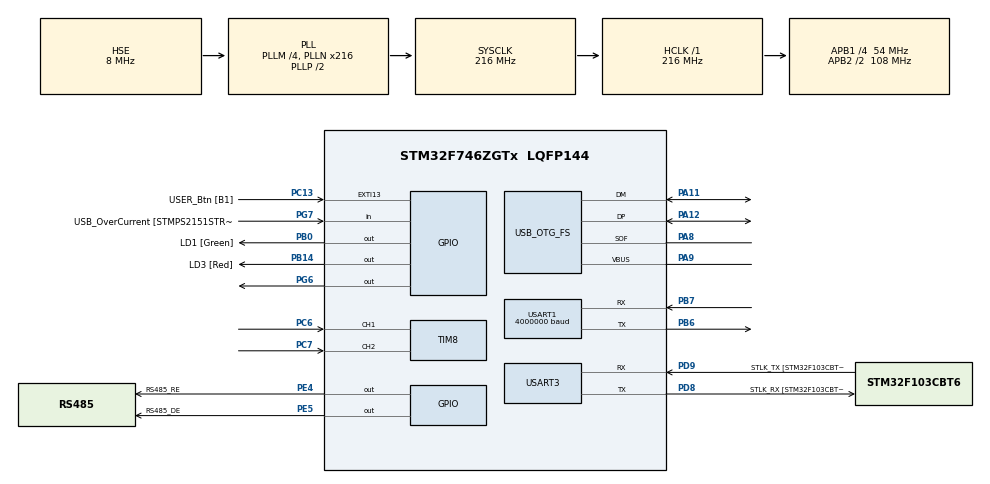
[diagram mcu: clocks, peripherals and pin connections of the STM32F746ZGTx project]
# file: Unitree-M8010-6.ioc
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Mcu.Family=STM32F7
Mcu.Name=STM32F746ZGTx
Mcu.Package=LQFP144
NVIC.PriorityGroup=NVIC_PRIORITYGROUP_4
PA1.GPIO_Label=RMII_REF_CLK [LAN8742A-CZ-TR_REFCLK0]
PA1.Signal=ETH_REF_CLK
PA11.Mode=Device_Only
PA11.Signal=USB_OTG_FS_DM
PA12.Mode=Device_Only
PA12.Signal=USB_OTG_FS_DP
PA13.GPIO_Label=TMS
PA13.Mode=Serial_Wire
PA13.Signal=SYS_JTMS-SWDIO
PA14.GPIO_Label=TCK
PA14.Mode=Serial_Wire
PA14.Signal=SYS_JTCK-SWCLK
PA2.GPIO_Label=RMII_MDIO [LAN8742A-CZ-TR_MDIO]
PA2.Signal=ETH_MDIO
PA7.GPIO_Label=RMII_CRS_DV [LAN8742A-CZ-TR_CRS_DV]
PA7.Signal=ETH_CRS_DV
PA8.Mode=Activate_SOF_FS
PA8.Signal=USB_OTG_FS_SOF
PA9.Mode=Activate_VBUS
PA9.Signal=USB_OTG_FS_VBUS
PB0.GPIO_Label=LD1 [Green]
PB0.Signal=GPIO_Output
PB13.GPIO_Label=RMII_TXD1 [LAN8742A-CZ-TR_TXD1]
PB13.Signal=ETH_TXD1
PB14.GPIO_Label=LD3 [Red]
PB14.Signal=GPIO_Output
PB3.GPIO_Label=SW0
PB3.Signal=SYS_JTDO-SWO
PB6.Mode=Asynchronous
PB6.Signal=USART1_TX
PB7.Mode=Asynchronous
PB7.Signal=USART1_RX
PC13.GPIO_Label=USER_Btn [B1]
PC13.Signal=GPXTI13
PC14/OSC32_IN.Mode=LSE-External-Oscillator
PC14/OSC32_IN.Signal=RCC_OSC32_IN
PC15/OSC32_OUT.Mode=LSE-External-Oscillator
PC15/OSC32_OUT.Signal=RCC_OSC32_OUT
PC4.GPIO_Label=RMII_RXD0 [LAN8742A-CZ-TR_RXD0]
PC4.Signal=ETH_RXD0
PC5.GPIO_Label=RMII_RXD1 [LAN8742A-CZ-TR_RXD1]
PC5.Signal=ETH_RXD1
PC6.Signal=S_TIM8_CH1
PC7.Signal=S_TIM8_CH2
PD6.Signal=USART2_RX
PD8.GPIO_Label=STLK_RX [STM32F103CBT6_PA3]
PD8.GPIO_PuPd=GPIO_PULLUP
PD8.Mode=Asynchronous
PD8.Signal=USART3_TX
PD9.GPIO_Label=STLK_TX [STM32F103CBT6_PA2]
PD9.GPIO_PuPd=GPIO_PULLUP
PD9.Mode=Asynchronous
PD9.Signal=USART3_RX
PE4.GPIO_Label=RS485_RE
PE4.GPIO_Speed=GPIO_SPEED_FREQ_VERY_HIGH
PE4.PinState=GPIO_PIN_SET
PE4.Signal=GPIO_Output
PE5.GPIO_Label=RS485_DE
PE5.GPIO_Speed=GPIO_SPEED_FREQ_VERY_HIGH
PE5.Signal=GPIO_Output
PG11.GPIO_Label=RMII_TX_EN [LAN8742A-CZ-TR_TXEN]
PG11.Signal=ETH_TX_EN
PG13.GPIO_Label=RMII_TXD0 [LAN8742A-CZ-TR_TXD0]
PG13.Signal=ETH_TXD0
PG6.Signal=GPIO_Output
PG7.GPIO_Label=USB_OverCurrent [STMPS2151STR_FAULT]
PG7.Signal=GPIO_Input
PH0/OSC_IN.GPIO_Label=MCO [STM32F103CBT6_PA8]
PH0/OSC_IN.Mode=HSE-External-Oscillator
PH0/OSC_IN.Signal=RCC_OSC_IN
PH1/OSC_OUT.Mode=HSE-External-Oscillator
PH1/OSC_OUT.Signal=RCC_OSC_OUT
ProjectManager.HeapSize=0x200
ProjectManager.StackSize=0x400
ProjectManager.TargetToolchain=STM32CubeIDE
RCC.48MHZClocksFreq_Value=24000000
RCC.AHBFreq_Value=216000000
RCC.APB1CLKDivider=RCC_HCLK_DIV4
RCC.APB1Freq_Value=54000000
RCC.APB1TimFreq_Value=108000000
RCC.APB2CLKDivider=RCC_HCLK_DIV2
RCC.APB2Freq_Value=108000000
RCC.APB2TimFreq_Value=216000000
RCC.CortexFreq_Value=216000000
RCC.HCLKFreq_Value=216000000
RCC.HSE_VALUE=8000000
RCC.HSI_VALUE=16000000
RCC.PLLM=4
RCC.PLLMUL=RCC_PLL_MUL9
RCC.PLLN=216
RCC.PLLQ=9
RCC.PRESCALERUSB=RCC_USBCLKSOURCE_PLL_DIV1_5
RCC.SYSCLKFreq_VALUE=216000000
RCC.SYSCLKSource=RCC_SYSCLKSOURCE_PLLCLK
RCC.SYSCLKSourceVirtual=RCC_SYSCLKSOURCE_PLLCLK
RCC.USART2CLockSelection=RCC_USART2CLKSOURCE_SYSCLK
RCC.USART3CLockSelection=RCC_USART3CLKSOURCE_SYSCLK
RCC.USBFreq_Value=48000000
RCC.VCOOutputFreq_Value=432000000
SH.S_TIM8_CH1.0=TIM8_CH1,Encoder_Interface
SH.S_TIM8_CH2.0=TIM8_CH2,Encoder_Interface
TIM3.Period=53999
TIM3.Prescaler=5
TIM8.AutoReloadPreload=TIM_AUTORELOAD_PRELOAD_ENABLE
TIM8.EncoderMode=TIM_ENCODERMODE_TI12
USART1.BaudRate=4000000
USART1.VirtualMode-Asynchronous=VM_ASYNC
USART3.VirtualMode-Asynchronous=VM_ASYNC
USB_OTG_FS.Sof_enable=ENABLE
USB_OTG_FS.VirtualMode=Device_Only
VP_TIM3_VS_ClockSourceINT.Mode=Internal
board=NUCLEO-F746ZG

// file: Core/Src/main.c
/* USER CODE BEGIN Header */
/**
 ******************************************************************************
 * @file           : main.c
 * @brief          : Main program body
 ******************************************************************************
 * @attention
 *
 * Copyright (c) 2025 STMicroelectronics.
 * All rights reserved.
 *
 * This software is licensed under terms that can be found in the LICENSE file
 * in the root directory of this software component.
 * If no LICENSE file comes with this software, it is provided AS-IS.
 *
 ******************************************************************************
 */
/* USER CODE END Header */
#include "main.h"

/* USER CODE BEGIN Includes */
#include "motor_control.h"
/* USER CODE END Includes */

TIM_HandleTypeDef htim3;
TIM_HandleTypeDef htim8;

UART_HandleTypeDef huart1;
UART_HandleTypeDef huart3;

PCD_HandleTypeDef hpcd_USB_OTG_FS;

/* USER CODE BEGIN PV */
MOTOR_send Motor1_send;   //以全局变量声明电机控制结构体和电机数据结构体，方便在故障时通过debug查看变量值
MOTOR_send cmd1;
MOTOR_recv Motor1_recv;

/* USER CODE END PV */

void SystemClock_Config(void);
static void MX_GPIO_Init(void);
static void MX_USART3_UART_Init(void);
static void MX_USB_OTG_FS_PCD_Init(void);
static void MX_USART1_UART_Init(void);
static void MX_TIM3_Init(void);
static void MX_TIM8_Init(void);

int main(void)
{

  /* MCU Configuration--------------------------------------------------------*/

  /* Reset of all peripherals, Initializes the Flash interface and the Systick. */
  HAL_Init();

  /* Configure the system clock */
  SystemClock_Config();

  /* Initialize all configured peripherals */
  MX_GPIO_Init();
  MX_USART3_UART_Init();
  MX_USB_OTG_FS_PCD_Init();
  MX_USART1_UART_Init();
  MX_TIM3_Init();
  MX_TIM8_Init();
  /* USER CODE BEGIN 2 */

	Motor1_send.id=1; 			//给电机控制指令结构体赋值
	Motor1_send.mode=1;
	Motor1_send.T=0;
	Motor1_send.W=0;
	Motor1_send.Pos=0;
	Motor1_send.K_P=0;
	Motor1_send.K_W=0;
	int i=0;

	//	cmd.T=0;
	//	cmd.W=0;
	//	cmd.Pos=0;
	//	cmd.K_P=0;
	//	cmd.K_W=0;

	unsigned char count = 0;

  /* USER CODE END 2 */

  /* Infinite loop */
  /* USER CODE BEGIN WHILE */
	while (1)
	{
		while(i!=10)
		{
		SERVO_Send_recv(&Motor1_send, &Motor1_recv);
		HAL_Delay(100);
		i++;
		}
//		cmd.T=0;
//		cmd.W=0;
//		cmd.Pos=0;
//		cmd.K_P=0;
//		cmd.K_W=0;
		SERVO_Send_recv(&Motor1_send, &Motor1_recv);
    /* USER CODE END WHILE */

	}
}

void SystemClock_Config(void)
{
  RCC_OscInitTypeDef RCC_OscInitStruct = {0};
  RCC_ClkInitTypeDef RCC_ClkInitStruct = {0};

  /** Configure LSE Drive Capability
  */
  HAL_PWR_EnableBkUpAccess();

  /** Configure the main internal regulator output voltage
  */
  __HAL_RCC_PWR_CLK_ENABLE();
  __HAL_PWR_VOLTAGESCALING_CONFIG(PWR_REGULATOR_VOLTAGE_SCALE1);

  /** Initializes the RCC Oscillators according to the specified parameters
  * in the RCC_OscInitTypeDef structure.
  */
  RCC_OscInitStruct.OscillatorType = RCC_OSCILLATORTYPE_HSE;
  RCC_OscInitStruct.HSEState = RCC_HSE_ON;
  RCC_OscInitStruct.PLL.PLLState = RCC_PLL_ON;
  RCC_OscInitStruct.PLL.PLLSource = RCC_PLLSOURCE_HSE;
  RCC_OscInitStruct.PLL.PLLM = 4;
  RCC_OscInitStruct.PLL.PLLN = 216;
  RCC_OscInitStruct.PLL.PLLP = RCC_PLLP_DIV2;
  RCC_OscInitStruct.PLL.PLLQ = 9;
  if (HAL_RCC_OscConfig(&RCC_OscInitStruct) != HAL_OK)
  {
    Error_Handler();
  }

  /** Activate the Over-Drive mode
  */
  if (HAL_PWREx_EnableOverDrive() != HAL_OK)
  {
    Error_Handler();
  }

  /** Initializes the CPU, AHB and APB buses clocks
  */
  RCC_ClkInitStruct.ClockType = RCC_CLOCKTYPE_HCLK|RCC_CLOCKTYPE_SYSCLK
                              |RCC_CLOCKTYPE_PCLK1|RCC_CLOCKTYPE_PCLK2;
  RCC_ClkInitStruct.SYSCLKSource = RCC_SYSCLKSOURCE_PLLCLK;
  RCC_ClkInitStruct.AHBCLKDivider = RCC_SYSCLK_DIV1;
  RCC_ClkInitStruct.APB1CLKDivider = RCC_HCLK_DIV4;
  RCC_ClkInitStruct.APB2CLKDivider = RCC_HCLK_DIV2;

  if (HAL_RCC_ClockConfig(&RCC_ClkInitStruct, FLASH_LATENCY_7) != HAL_OK)
  {
    Error_Handler();
  }
}

static void MX_TIM3_Init(void)
{

  TIM_ClockConfigTypeDef sClockSourceConfig = {0};
  TIM_MasterConfigTypeDef sMasterConfig = {0};

  htim3.Instance = TIM3;
  htim3.Init.Prescaler = 5;
  htim3.Init.CounterMode = TIM_COUNTERMODE_UP;
  htim3.Init.Period = 53999;
  htim3.Init.ClockDivision = TIM_CLOCKDIVISION_DIV1;
  htim3.Init.AutoReloadPreload = TIM_AUTORELOAD_PRELOAD_DISABLE;
  if (HAL_TIM_Base_Init(&htim3) != HAL_OK)
  {
    Error_Handler();
  }
  sClockSourceConfig.ClockSource = TIM_CLOCKSOURCE_INTERNAL;
  if (HAL_TIM_ConfigClockSource(&htim3, &sClockSourceConfig) != HAL_OK)
  {
    Error_Handler();
  }
  sMasterConfig.MasterOutputTrigger = TIM_TRGO_RESET;
  sMasterConfig.MasterSlaveMode = TIM_MASTERSLAVEMODE_DISABLE;
  if (HAL_TIMEx_MasterConfigSynchronization(&htim3, &sMasterConfig) != HAL_OK)
  {
    Error_Handler();
  }

}

static void MX_TIM8_Init(void)
{

  TIM_Encoder_InitTypeDef sConfig = {0};
  TIM_MasterConfigTypeDef sMasterConfig = {0};

  htim8.Instance = TIM8;
  htim8.Init.Prescaler = 0;
  htim8.Init.CounterMode = TIM_COUNTERMODE_UP;
  htim8.Init.Period = 65535;
  htim8.Init.ClockDivision = TIM_CLOCKDIVISION_DIV1;
  htim8.Init.RepetitionCounter = 0;
  htim8.Init.AutoReloadPreload = TIM_AUTORELOAD_PRELOAD_ENABLE;
  sConfig.EncoderMode = TIM_ENCODERMODE_TI12;
  sConfig.IC1Polarity = TIM_ICPOLARITY_RISING;
  sConfig.IC1Selection = TIM_ICSELECTION_DIRECTTI;
  sConfig.IC1Prescaler = TIM_ICPSC_DIV1;
  sConfig.IC1Filter = 0;
  sConfig.IC2Polarity = TIM_ICPOLARITY_RISING;
  sConfig.IC2Selection = TIM_ICSELECTION_DIRECTTI;
  sConfig.IC2Prescaler = TIM_ICPSC_DIV1;
  sConfig.IC2Filter = 0;
  if (HAL_TIM_Encoder_Init(&htim8, &sConfig) != HAL_OK)
  {
    Error_Handler();
  }
  sMasterConfig.MasterOutputTrigger = TIM_TRGO_RESET;
  sMasterConfig.MasterOutputTrigger2 = TIM_TRGO2_RESET;
  sMasterConfig.MasterSlaveMode = TIM_MASTERSLAVEMODE_DISABLE;
  if (HAL_TIMEx_MasterConfigSynchronization(&htim8, &sMasterConfig) != HAL_OK)
  {
    Error_Handler();
  }

}

static void MX_USART1_UART_Init(void)
{

  huart1.Instance = USART1;
  huart1.Init.BaudRate = 4000000;
  huart1.Init.WordLength = UART_WORDLENGTH_8B;
  huart1.Init.StopBits = UART_STOPBITS_1;
  huart1.Init.Parity = UART_PARITY_NONE;
  huart1.Init.Mode = UART_MODE_TX_RX;
  huart1.Init.HwFlowCtl = UART_HWCONTROL_NONE;
  huart1.Init.OverSampling = UART_OVERSAMPLING_16;
  huart1.Init.OneBitSampling = UART_ONE_BIT_SAMPLE_DISABLE;
  huart1.AdvancedInit.AdvFeatureInit = UART_ADVFEATURE_NO_INIT;
  if (HAL_UART_Init(&huart1) != HAL_OK)
  {
    Error_Handler();
  }

}

static void MX_USART3_UART_Init(void)
{

  huart3.Instance = USART3;
  huart3.Init.BaudRate = 115200;
  huart3.Init.WordLength = UART_WORDLENGTH_8B;
  huart3.Init.StopBits = UART_STOPBITS_1;
  huart3.Init.Parity = UART_PARITY_NONE;
  huart3.Init.Mode = UART_MODE_TX_RX;
  huart3.Init.HwFlowCtl = UART_HWCONTROL_NONE;
  huart3.Init.OverSampling = UART_OVERSAMPLING_16;
  huart3.Init.OneBitSampling = UART_ONE_BIT_SAMPLE_DISABLE;
  huart3.AdvancedInit.AdvFeatureInit = UART_ADVFEATURE_NO_INIT;
  if (HAL_UART_Init(&huart3) != HAL_OK)
  {
    Error_Handler();
  }

}

static void MX_USB_OTG_FS_PCD_Init(void)
{

  hpcd_USB_OTG_FS.Instance = USB_OTG_FS;
  hpcd_USB_OTG_FS.Init.dev_endpoints = 6;
  hpcd_USB_OTG_FS.Init.speed = PCD_SPEED_FULL;
  hpcd_USB_OTG_FS.Init.dma_enable = DISABLE;
  hpcd_USB_OTG_FS.Init.phy_itface = PCD_PHY_EMBEDDED;
  hpcd_USB_OTG_FS.Init.Sof_enable = ENABLE;
  hpcd_USB_OTG_FS.Init.low_power_enable = DISABLE;
  hpcd_USB_OTG_FS.Init.lpm_enable = DISABLE;
  hpcd_USB_OTG_FS.Init.vbus_sensing_enable = ENABLE;
  hpcd_USB_OTG_FS.Init.use_dedicated_ep1 = DISABLE;
  if (HAL_PCD_Init(&hpcd_USB_OTG_FS) != HAL_OK)
  {
    Error_Handler();
  }

}

static void MX_GPIO_Init(void)
{
  GPIO_InitTypeDef GPIO_InitStruct = {0};

  /* GPIO Ports Clock Enable */
  __HAL_RCC_GPIOE_CLK_ENABLE();
  __HAL_RCC_GPIOC_CLK_ENABLE();
  __HAL_RCC_GPIOH_CLK_ENABLE();
  __HAL_RCC_GPIOA_CLK_ENABLE();
  __HAL_RCC_GPIOB_CLK_ENABLE();
  __HAL_RCC_GPIOD_CLK_ENABLE();
  __HAL_RCC_GPIOG_CLK_ENABLE();

  /*Configure GPIO pin Output Level */
  HAL_GPIO_WritePin(RS485_RE_GPIO_Port, RS485_RE_Pin, GPIO_PIN_SET);

  /*Configure GPIO pin Output Level */
  HAL_GPIO_WritePin(RS485_DE_GPIO_Port, RS485_DE_Pin, GPIO_PIN_RESET);

  /*Configure GPIO pin Output Level */
  HAL_GPIO_WritePin(GPIOB, LD1_Pin|LD3_Pin, GPIO_PIN_RESET);

  /*Configure GPIO pin Output Level */
  HAL_GPIO_WritePin(GPIOG, GPIO_PIN_6, GPIO_PIN_RESET);

  /*Configure GPIO pins : RS485_RE_Pin RS485_DE_Pin */
  GPIO_InitStruct.Pin = RS485_RE_Pin|RS485_DE_Pin;
  GPIO_InitStruct.Mode = GPIO_MODE_OUTPUT_PP;
  GPIO_InitStruct.Pull = GPIO_NOPULL;
  GPIO_InitStruct.Speed = GPIO_SPEED_FREQ_VERY_HIGH;
  HAL_GPIO_Init(GPIOE, &GPIO_InitStruct);

  /*Configure GPIO pin : USER_Btn_Pin */
  GPIO_InitStruct.Pin = USER_Btn_Pin;
  GPIO_InitStruct.Mode = GPIO_MODE_IT_RISING;
  GPIO_InitStruct.Pull = GPIO_NOPULL;
  HAL_GPIO_Init(USER_Btn_GPIO_Port, &GPIO_InitStruct);

  /*Configure GPIO pins : RMII_REF_CLK_Pin RMII_MDIO_Pin RMII_CRS_DV_Pin */
  GPIO_InitStruct.Pin = RMII_REF_CLK_Pin|RMII_MDIO_Pin|RMII_CRS_DV_Pin;
  GPIO_InitStruct.Mode = GPIO_MODE_AF_PP;
  GPIO_InitStruct.Pull = GPIO_NOPULL;
  GPIO_InitStruct.Speed = GPIO_SPEED_FREQ_VERY_HIGH;
  GPIO_InitStruct.Alternate = GPIO_AF11_ETH;
  HAL_GPIO_Init(GPIOA, &GPIO_InitStruct);

  /*Configure GPIO pins : RMII_RXD0_Pin RMII_RXD1_Pin */
  GPIO_InitStruct.Pin = RMII_RXD0_Pin|RMII_RXD1_Pin;
  GPIO_InitStruct.Mode = GPIO_MODE_AF_PP;
  GPIO_InitStruct.Pull = GPIO_NOPULL;
  GPIO_InitStruct.Speed = GPIO_SPEED_FREQ_VERY_HIGH;
  GPIO_InitStruct.Alternate = GPIO_AF11_ETH;
  HAL_GPIO_Init(GPIOC, &GPIO_InitStruct);

  /*Configure GPIO pins : LD1_Pin LD3_Pin */
  GPIO_InitStruct.Pin = LD1_Pin|LD3_Pin;
  GPIO_InitStruct.Mode = GPIO_MODE_OUTPUT_PP;
  GPIO_InitStruct.Pull = GPIO_NOPULL;
  GPIO_InitStruct.Speed = GPIO_SPEED_FREQ_LOW;
  HAL_GPIO_Init(GPIOB, &GPIO_InitStruct);

  /*Configure GPIO pin : RMII_TXD1_Pin */
  GPIO_InitStruct.Pin = RMII_TXD1_Pin;
  GPIO_InitStruct.Mode = GPIO_MODE_AF_PP;
  GPIO_InitStruct.Pull = GPIO_NOPULL;
  GPIO_InitStruct.Speed = GPIO_SPEED_FREQ_VERY_HIGH;
  GPIO_InitStruct.Alternate = GPIO_AF11_ETH;
  HAL_GPIO_Init(RMII_TXD1_GPIO_Port, &GPIO_InitStruct);

  /*Configure GPIO pin : PG6 */
  GPIO_InitStruct.Pin = GPIO_PIN_6;
  GPIO_InitStruct.Mode = GPIO_MODE_OUTPUT_PP;
  GPIO_InitStruct.Pull = GPIO_NOPULL;
  GPIO_InitStruct.Speed = GPIO_SPEED_FREQ_LOW;
  HAL_GPIO_Init(GPIOG, &GPIO_InitStruct);

  /*Configure GPIO pin : USB_OverCurrent_Pin */
  GPIO_InitStruct.Pin = USB_OverCurrent_Pin;
  GPIO_InitStruct.Mode = GPIO_MODE_INPUT;
  GPIO_InitStruct.Pull = GPIO_NOPULL;
  HAL_GPIO_Init(USB_OverCurrent_GPIO_Port, &GPIO_InitStruct);

  /*Configure GPIO pin : PD6 */
  GPIO_InitStruct.Pin = GPIO_PIN_6;
  GPIO_InitStruct.Mode = GPIO_MODE_AF_PP;
  GPIO_InitStruct.Pull = GPIO_NOPULL;
  GPIO_InitStruct.Speed = GPIO_SPEED_FREQ_VERY_HIGH;
  GPIO_InitStruct.Alternate = GPIO_AF7_USART2;
  HAL_GPIO_Init(GPIOD, &GPIO_InitStruct);

  /*Configure GPIO pins : RMII_TX_EN_Pin RMII_TXD0_Pin */
  GPIO_InitStruct.Pin = RMII_TX_EN_Pin|RMII_TXD0_Pin;
  GPIO_InitStruct.Mode = GPIO_MODE_AF_PP;
  GPIO_InitStruct.Pull = GPIO_NOPULL;
  GPIO_InitStruct.Speed = GPIO_SPEED_FREQ_VERY_HIGH;
  GPIO_InitStruct.Alternate = GPIO_AF11_ETH;
  HAL_GPIO_Init(GPIOG, &GPIO_InitStruct);

}

void Error_Handler(void)
{
	__disable_irq();
	while (1)
	{
	}
}
